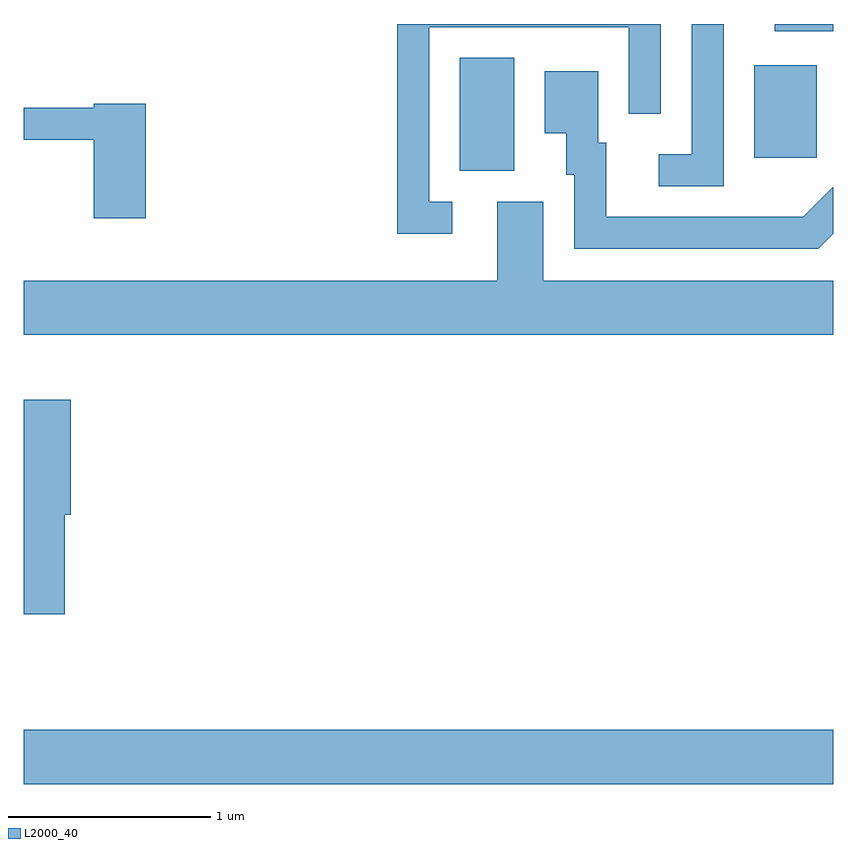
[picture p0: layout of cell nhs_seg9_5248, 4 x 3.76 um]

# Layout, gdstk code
import gdstk
lib = gdstk.Library(unit=1e-6, precision=1e-09)
def R(c, l, rs):  # rectangles x0, y0, x1, y1
    for r in rs: c.add(gdstk.rectangle(r[:2], r[2:], *l))
def P(c, l, *ps):  # polygons
    for p in ps: c.add(gdstk.Polygon(p, *l))
L2000_40 = (2000, 40)

nhs_seg9_5248 = lib.new_cell('nhs_seg9_5248')
R(nhs_seg9_5248, L2000_40, [(339.611,2020.676,343.611,2020.944), (341.766,2023.706,342.034,2024.264), (343.221,2023.771,343.529,2024.229), (343.323,2024.396,343.611,2024.432)])
P(nhs_seg9_5248, L2000_40, [(341.728,2023.554),(341.614,2023.554),(341.614,2024.416),(342.601,2024.416),(342.601,2023.988),(342.759,2023.988),(342.759,2024.432),(341.456,2024.432),(341.456,2023.396),(341.728,2023.396)],
  [(343.069,2024.432),(342.911,2024.432),(342.911,2023.789),(342.748,2023.789),(342.748,2023.631),(343.069,2023.631)],
  [(343.611,2023.395),(343.611,2023.627),(343.464,2023.479),(342.489,2023.479),(342.489,2023.844),(342.449,2023.844),(342.449,2024.199),(342.186,2024.199),(342.186,2023.891),(342.291,2023.891),(342.291,2023.686),(342.331,2023.686),(342.331,2023.321),(343.537,2023.321)],
  [(340.214,2024.039),(339.956,2024.039),(339.956,2024.019),(339.611,2024.019),(339.611,2023.861),(339.956,2023.861),(339.956,2023.471),(340.214,2023.471)],
  [(343.611,2023.164),(342.179,2023.164),(342.179,2023.554),(341.951,2023.554),(341.951,2023.164),(339.611,2023.164),(339.611,2022.896),(343.611,2022.896)],
  [(339.814,2022.006),(339.844,2022.006),(339.844,2022.574),(339.611,2022.574),(339.611,2021.516),(339.814,2021.516)])

lib.write_gds('nhs_seg9_5248.gds')
